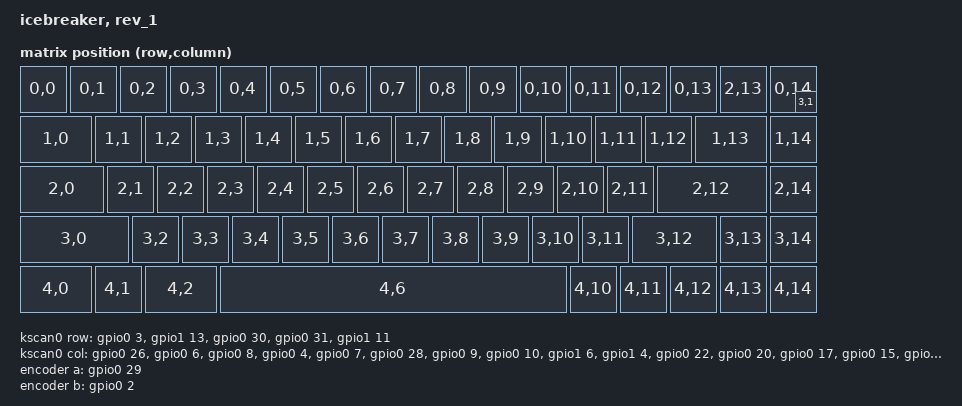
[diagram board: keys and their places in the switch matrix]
/*
 * Copyright (c) 2020 The ZMK Contributors
 *
 * SPDX-License-Identifier: MIT
 */

/dts-v1/;
#include <nordic/nrf52840_qiaa.dtsi>
#include <dt-bindings/zmk/matrix_transform.h>
#include <dt-bindings/led/led.h>
#include <physical_layouts.dtsi>

/ {
	model = "icebreaker, rev_1";
	compatible = "icebreaker,rev_1";

	chosen {
		zephyr,code-partition = &code_partition;
		zephyr,sram = &sram0;
		zephyr,flash = &flash0;
		zephyr,settings-partition = &storage_partition;
		zmk,battery = &fuelgauge;
		zmk,kscan = &kscan0;
		zmk,physical-layout = &physical_layout0;
		zmk,underglow = &led_strip;
		zmk,studio-rpc-uart = &studio_rpc_uart;
	};

	/* External power control for LEDs - LED_EN = P1.10 */
	ext-power {
		compatible = "zmk,ext-power-generic";
		control-gpios = <&gpio1 10 GPIO_ACTIVE_HIGH>;
	};

	default_transform: keymap_transform_0 {
		compatible = "zmk,matrix-transform";
		columns = <15>;
		rows = <5>;
		map = <
			RC(0,0)	RC(0,1)	RC(0,2)	RC(0,3)	RC(0,4)	RC(0,5)	RC(0,6)	RC(0,7)	RC(0,8)	RC(0,9)	RC(0,10) RC(0,11) RC(0,12) RC(0,13) RC(2,13) RC(0,14)
			RC(1,0)	RC(1,1)	RC(1,2)	RC(1,3)	RC(1,4)	RC(1,5)	RC(1,6)	RC(1,7)	RC(1,8)	RC(1,9)	RC(1,10) RC(1,11) RC(1,12) RC(1,13) RC(1,14)
			RC(2,0)	RC(2,1)	RC(2,2)	RC(2,3)	RC(2,4)	RC(2,5)	RC(2,6)	RC(2,7)	RC(2,8)	RC(2,9)	RC(2,10) RC(2,11) RC(2,12)          RC(2,14)
			RC(3,0)	RC(3,1)	RC(3,2)	RC(3,3)	RC(3,4)	RC(3,5)	RC(3,6)	RC(3,7)	RC(3,8)	RC(3,9)	RC(3,10) RC(3,11) RC(3,12) RC(3,13) RC(3,14)
			RC(4,0)	RC(4,1)	RC(4,2)	                    	RC(4,6)	                    	RC(4,10) RC(4,11) RC(4,12) RC(4,13) RC(4,14)
		>;
	};

	/* Physical layout for ZMK Studio */
	physical_layout0: physical_layout_0 {
		compatible = "zmk,physical-layout";
		display-name = "Default";
		transform = <&default_transform>;
		kscan = <&kscan0>;
		keys = <
			/* Row 0: 16 keys */
			&key_physical_attrs 100 100   0   0 0 0 0   /* Esc */
			&key_physical_attrs 100 100 100   0 0 0 0   /* 1 */
			&key_physical_attrs 100 100 200   0 0 0 0   /* 2 */
			&key_physical_attrs 100 100 300   0 0 0 0   /* 3 */
			&key_physical_attrs 100 100 400   0 0 0 0   /* 4 */
			&key_physical_attrs 100 100 500   0 0 0 0   /* 5 */
			&key_physical_attrs 100 100 600   0 0 0 0   /* 6 */
			&key_physical_attrs 100 100 700   0 0 0 0   /* 7 */
			&key_physical_attrs 100 100 800   0 0 0 0   /* 8 */
			&key_physical_attrs 100 100 900   0 0 0 0   /* 9 */
			&key_physical_attrs 100 100 1000  0 0 0 0   /* 0 */
			&key_physical_attrs 100 100 1100  0 0 0 0   /* - */
			&key_physical_attrs 100 100 1200  0 0 0 0   /* = */
			&key_physical_attrs 100 100 1300  0 0 0 0   /* \ */
			&key_physical_attrs 100 100 1400  0 0 0 0   /* Del */
			&key_physical_attrs 100 100 1500  0 0 0 0   /* ` */
			/* Row 1: 15 keys */
			&key_physical_attrs 150 100   0 100 0 0 0   /* Tab */
			&key_physical_attrs 100 100 150 100 0 0 0   /* Q */
			&key_physical_attrs 100 100 250 100 0 0 0   /* W */
			&key_physical_attrs 100 100 350 100 0 0 0   /* E */
			&key_physical_attrs 100 100 450 100 0 0 0   /* R */
			&key_physical_attrs 100 100 550 100 0 0 0   /* T */
			&key_physical_attrs 100 100 650 100 0 0 0   /* Y */
			&key_physical_attrs 100 100 750 100 0 0 0   /* U */
			&key_physical_attrs 100 100 850 100 0 0 0   /* I */
			&key_physical_attrs 100 100 950 100 0 0 0   /* O */
			&key_physical_attrs 100 100 1050 100 0 0 0  /* P */
			&key_physical_attrs 100 100 1150 100 0 0 0  /* [ */
			&key_physical_attrs 100 100 1250 100 0 0 0  /* ] */
			&key_physical_attrs 150 100 1350 100 0 0 0  /* Backspace */
			&key_physical_attrs 100 100 1500 100 0 0 0  /* Home */
			/* Row 2: 14 keys */
			&key_physical_attrs 175 100   0 200 0 0 0   /* Caps */
			&key_physical_attrs 100 100 175 200 0 0 0   /* A */
			&key_physical_attrs 100 100 275 200 0 0 0   /* S */
			&key_physical_attrs 100 100 375 200 0 0 0   /* D */
			&key_physical_attrs 100 100 475 200 0 0 0   /* F */
			&key_physical_attrs 100 100 575 200 0 0 0   /* G */
			&key_physical_attrs 100 100 675 200 0 0 0   /* H */
			&key_physical_attrs 100 100 775 200 0 0 0   /* J */
			&key_physical_attrs 100 100 875 200 0 0 0   /* K */
			&key_physical_attrs 100 100 975 200 0 0 0   /* L */
			&key_physical_attrs 100 100 1075 200 0 0 0  /* ; */
			&key_physical_attrs 100 100 1175 200 0 0 0  /* ' */
			&key_physical_attrs 225 100 1275 200 0 0 0  /* Enter */
			&key_physical_attrs 100 100 1500 200 0 0 0  /* End */
			/* Row 3: 15 keys (includes encoder press) */
			&key_physical_attrs 225 100   0 300 0 0 0   /* LShift */
			&key_physical_attrs  50  50 1550  50 0 0 0  /* Encoder Press (hidden) */
			&key_physical_attrs 100 100 225 300 0 0 0   /* Z */
			&key_physical_attrs 100 100 325 300 0 0 0   /* X */
			&key_physical_attrs 100 100 425 300 0 0 0   /* C */
			&key_physical_attrs 100 100 525 300 0 0 0   /* V */
			&key_physical_attrs 100 100 625 300 0 0 0   /* B */
			&key_physical_attrs 100 100 725 300 0 0 0   /* N */
			&key_physical_attrs 100 100 825 300 0 0 0   /* M */
			&key_physical_attrs 100 100 925 300 0 0 0   /* , */
			&key_physical_attrs 100 100 1025 300 0 0 0  /* . */
			&key_physical_attrs 100 100 1125 300 0 0 0  /* / */
			&key_physical_attrs 175 100 1225 300 0 0 0  /* RShift */
			&key_physical_attrs 100 100 1400 300 0 0 0  /* Up */
			&key_physical_attrs 100 100 1500 300 0 0 0  /* MO(1) */
			/* Row 4: 10 keys */
			&key_physical_attrs 150 100   0 400 0 0 0   /* LCtrl */
			&key_physical_attrs 100 100 150 400 0 0 0   /* LGUI */
			&key_physical_attrs 150 100 250 400 0 0 0   /* LAlt */
			&key_physical_attrs 700 100 400 400 0 0 0   /* Space */
			&key_physical_attrs 100 100 1100 400 0 0 0  /* RAlt */
			&key_physical_attrs 100 100 1200 400 0 0 0  /* RCtrl */
			&key_physical_attrs 100 100 1300 400 0 0 0  /* Left */
			&key_physical_attrs 100 100 1400 400 0 0 0  /* Down */
			&key_physical_attrs 100 100 1500 400 0 0 0  /* Right */
		>;
	};

	kscan0: kscan {
		compatible = "zmk,kscan-gpio-matrix";
		wakeup-source;
		diode-direction = "col2row";
		row-gpios
			= <&gpio0 3 (GPIO_ACTIVE_HIGH | GPIO_PULL_DOWN)>   // ROW0 = P0.03
			, <&gpio1 13 (GPIO_ACTIVE_HIGH | GPIO_PULL_DOWN)>  // ROW1 = P1.13
			, <&gpio0 30 (GPIO_ACTIVE_HIGH | GPIO_PULL_DOWN)>  // ROW2 = P0.30
			, <&gpio0 31 (GPIO_ACTIVE_HIGH | GPIO_PULL_DOWN)>  // ROW3 = P0.31
			, <&gpio1 11 (GPIO_ACTIVE_HIGH | GPIO_PULL_DOWN)>  // ROW4 = P1.11
			;
		col-gpios
			= <&gpio0 26 GPIO_ACTIVE_HIGH>   // COL0  = P0.26
			, <&gpio0  6 GPIO_ACTIVE_HIGH>   // COL1  = P0.06
			, <&gpio0  8 GPIO_ACTIVE_HIGH>   // COL2  = P0.08
			, <&gpio0  4 GPIO_ACTIVE_HIGH>   // COL3  = P0.04
			, <&gpio0  7 GPIO_ACTIVE_HIGH>   // COL4  = P0.07
			, <&gpio0 28 GPIO_ACTIVE_HIGH>   // COL5  = P0.28
			, <&gpio0  9 GPIO_ACTIVE_HIGH>   // COL6  = P0.09
			, <&gpio0 10 GPIO_ACTIVE_HIGH>   // COL7  = P0.10
			, <&gpio1  6 GPIO_ACTIVE_HIGH>   // COL8  = P1.06
			, <&gpio1  4 GPIO_ACTIVE_HIGH>   // COL9  = P1.04
			, <&gpio0 22 GPIO_ACTIVE_HIGH>   // COL10 = P0.22
			, <&gpio0 20 GPIO_ACTIVE_HIGH>   // COL11 = P0.20
			, <&gpio0 17 GPIO_ACTIVE_HIGH>   // COL12 = P0.17
			, <&gpio0 15 GPIO_ACTIVE_HIGH>   // COL13 = P0.15
			, <&gpio0 24 GPIO_ACTIVE_HIGH>   // COL14 = P0.24
			;
	};

	encoder: encoder {
		compatible = "alps,ec11";
		a-gpios = <&gpio0 29 (GPIO_ACTIVE_HIGH | GPIO_PULL_UP)>;
		b-gpios = <&gpio0 2 (GPIO_ACTIVE_HIGH | GPIO_PULL_UP)>;
		steps = <80>;
		status = "disabled";
	};

	sensors: sensors {
		compatible = "zmk,keymap-sensors";
		sensors = <&encoder>;
		triggers-per-rotation = <20>;
	};

	/* GPIO key for wakeup - uses ROW0 pin */
	keys {
		compatible = "gpio-keys";
		soft_off_gpio_key: soft_off_gpio_key {
			gpios = <&gpio0 3 (GPIO_ACTIVE_HIGH | GPIO_PULL_DOWN)>;
		};
	};

	/* Wakeup trigger - drives columns high so any key on ROW0 wakes device */
	wakeup_scan: wakeup_scan {
		compatible = "zmk,gpio-key-wakeup-trigger";
		trigger = <&soft_off_gpio_key>;
		wakeup-source;
		/* All column pins - drive them high during soft-off so pressing any ROW0 key wakes */
		extra-gpios
			= <&gpio0 26 GPIO_ACTIVE_HIGH>   // COL0
			, <&gpio0  6 GPIO_ACTIVE_HIGH>   // COL1
			, <&gpio0  8 GPIO_ACTIVE_HIGH>   // COL2
			, <&gpio0  4 GPIO_ACTIVE_HIGH>   // COL3
			, <&gpio0  7 GPIO_ACTIVE_HIGH>   // COL4
			, <&gpio0 28 GPIO_ACTIVE_HIGH>   // COL5
			, <&gpio0  9 GPIO_ACTIVE_HIGH>   // COL6
			, <&gpio0 10 GPIO_ACTIVE_HIGH>   // COL7
			, <&gpio1  6 GPIO_ACTIVE_HIGH>   // COL8
			, <&gpio1  4 GPIO_ACTIVE_HIGH>   // COL9
			, <&gpio0 22 GPIO_ACTIVE_HIGH>   // COL10
			, <&gpio0 20 GPIO_ACTIVE_HIGH>   // COL11
			, <&gpio0 17 GPIO_ACTIVE_HIGH>   // COL12
			, <&gpio0 15 GPIO_ACTIVE_HIGH>   // COL13
			, <&gpio0 24 GPIO_ACTIVE_HIGH>   // COL14
			;
	};

	/* Soft-off wakeup sources */
	soft_off_wakers {
		compatible = "zmk,soft-off-wakeup-sources";
		wakeup-sources = <&wakeup_scan>;
	};
};

&gpiote {
	status = "okay";
};

&gpio0 {
	status = "okay";
};

&gpio1 {
	status = "okay";
};

zephyr_udc0: &usbd {
	status = "okay";
	studio_rpc_uart: studio_rpc_uart {
		compatible = "zephyr,cdc-acm-uart";
	};
};

&pinctrl {
	i2c0_default: i2c0_default {
		group1 {
			psels = <NRF_PSEL(TWIM_SDA, 0, 5)>,
				<NRF_PSEL(TWIM_SCL, 1, 9)>;
		};
	};
	i2c0_sleep: i2c0_sleep {
		group1 {
			psels = <NRF_PSEL(TWIM_SDA, 0, 5)>,
				<NRF_PSEL(TWIM_SCL, 1, 9)>;
			low-power-enable;
		};
	};
	spi3_default: spi3_default {
		group1 {
			psels = <NRF_PSEL(SPIM_MOSI, 0, 13)>;  // LED_LV = P0.13
		};
	};
	spi3_sleep: spi3_sleep {
		group1 {
			psels = <NRF_PSEL(SPIM_MOSI, 0, 13)>;
			low-power-enable;
		};
	};
};

&i2c0 {
	status = "okay";
	compatible = "nordic,nrf-twim";
	pinctrl-0 = <&i2c0_default>;
	pinctrl-1 = <&i2c0_sleep>;
	pinctrl-names = "default", "sleep";
	clock-frequency = <100000>;

	fuelgauge: max17048@36 {
		compatible = "zmk,maxim-max17048";
		reg = <0x36>;
	};
};

&flash0 {
	partitions {
		compatible = "fixed-partitions";
		#address-cells = <1>;
		#size-cells = <1>;

		sd_partition: partition@0 {
			label = "softdevice";
			reg = <0x00000000 0x00026000>;
		};
		code_partition: partition@26000 {
			label = "code_partition";
			reg = <0x00026000 0x000c6000>;
		};
		storage_partition: partition@ec000 {
			label = "storage";
			reg = <0x000ec000 0x00008000>;
		};
		boot_partition: partition@f4000 {
			label = "adafruit_boot";
			reg = <0x000f4000 0x0000c000>;
		};
	};
};

&spi3 {
	compatible = "nordic,nrf-spim";
	status = "okay";
	pinctrl-0 = <&spi3_default>;
	pinctrl-1 = <&spi3_sleep>;
	pinctrl-names = "default", "sleep";

	led_strip: ws2812@0 {
		compatible = "worldsemi,ws2812-spi";
		reg = <0>;
		spi-max-frequency = <4000000>;
		chain-length = <68>;
		spi-one-frame = <0x70>;
		spi-zero-frame = <0x40>;
		color-mapping = <LED_COLOR_ID_GREEN LED_COLOR_ID_RED LED_COLOR_ID_BLUE>;
	};
};
